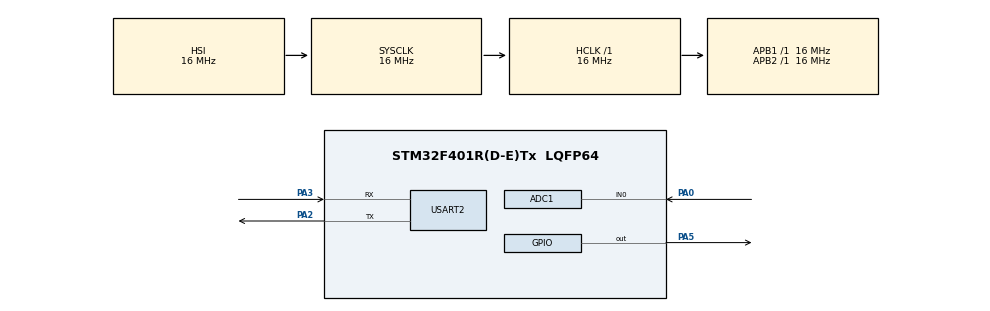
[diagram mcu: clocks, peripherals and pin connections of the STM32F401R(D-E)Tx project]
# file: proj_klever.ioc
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ADC1.NbrOfConversionFlag=1
ADC1.master=1
FREERTOS.Queues01=MainQueue,32,uint8_t,0,Dynamic,NULL,NULL
FREERTOS.Tasks01=Gerenciador,8,128,GerenciadorTask,Default,NULL,Dynamic,NULL,NULL;LerAnalogica,24,128,LerAnalogicaTask,Default,NULL,Dynamic,NULL,NULL;ComandarLed,24,128,ComandarLedTask,Default,NULL,Dynamic,NULL,NULL
Mcu.Family=STM32F4
Mcu.Name=STM32F401R(D-E)Tx
Mcu.Package=LQFP64
NVIC.PriorityGroup=NVIC_PRIORITYGROUP_4
NVIC.TIM1_UP_TIM10_IRQn=true\:0\:0\:false\:false\:true\:false\:false\:true
NVIC.TimeBase=TIM1_UP_TIM10_IRQn
NVIC.TimeBaseIP=TIM10
NVIC.USART2_IRQn=true\:5\:0\:false\:false\:true\:true\:true\:true
PA0-WKUP.Signal=ADCx_IN0
PA13.Mode=Serial_Wire
PA13.Signal=SYS_JTMS-SWDIO
PA14.Mode=Serial_Wire
PA14.Signal=SYS_JTCK-SWCLK
PA2.Mode=Asynchronous
PA2.Signal=USART2_TX
PA3.Mode=Asynchronous
PA3.Signal=USART2_RX
PA5.Signal=GPIO_Output
PH0\ -\ OSC_IN.Mode=HSE-External-Clock-Source
PH0\ -\ OSC_IN.Signal=RCC_OSC_IN
PH1\ -\ OSC_OUT.Mode=HSE-External-Clock-Source
PH1\ -\ OSC_OUT.Signal=RCC_OSC_OUT
ProjectManager.HeapSize=0x200
ProjectManager.StackSize=0x400
ProjectManager.TargetToolchain=STM32CubeIDE
RCC.AHBFreq_Value=16000000
RCC.APB1Freq_Value=16000000
RCC.APB2Freq_Value=16000000
RCC.CortexFreq_Value=16000000
RCC.HSE_VALUE=25000000
RCC.HSI_VALUE=16000000
RCC.LSE_VALUE=32768
RCC.SYSCLKFreq_VALUE=16000000
RCC.VCOOutputFreq_Value=192000000
SH.ADCx_IN0.0=ADC1_IN0,IN0
USART2.VirtualMode=VM_ASYNC
VP_FREERTOS_VS_CMSIS_V2.Mode=CMSIS_V2
VP_SYS_VS_tim10.Mode=TIM10
board=NUCLEO-F401RE

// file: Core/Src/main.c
/* USER CODE BEGIN Header */
/**
 ******************************************************************************
 * @file           : main.c
 * @brief          : Main program body
 ******************************************************************************
 * @attention
 *
 * <h2><center>&copy; Copyright (c) 2021 STMicroelectronics.
 * All rights reserved.</center></h2>
 *
 * This software component is licensed by ST under BSD 3-Clause license,
 * the "License"; You may not use this file except in compliance with the
 * License. You may obtain a copy of the License at:
 *                        opensource.org/licenses/BSD-3-Clause
 *
 * Criado por: Gustavo Duarte Serafim
 * Última Edição: 23/03/2021
 ******************************************************************************
 */
/* USER CODE END Header */

#include "main.h"
#include "cmsis_os.h"

/* USER CODE BEGIN Includes */
#include "stdio.h"
#include "string.h"
/* USER CODE END Includes */

/* USER CODE BEGIN PD */

// Bytes Relativos às Tarefas
#define FLAG_GERENCIADOR 	0x02
#define FLAG_LIGA 			0x04
#define FLAG_DESLIGA 		0x08
#define FLAG_TOGGLE 		0x10
#define FLAG_ADC 			0x20
#define FLAG_LOOPBACK 		0x40
#define MSG_ACK				0x8f

// Indices Importanes do Frame de Dados
#define INDICE_INICIO_FRAME 	0
#define INDICE_CMD_FRAME 		1
#define INDICE_QTD_PARAMS		2
#define INDICE_INICIO_PARAMS	3

// Constantes do Projeto
#define QUEUE_SIZE 	32
#define PERIODO_ADC 50

/* USER CODE END PD */

ADC_HandleTypeDef hadc1;

UART_HandleTypeDef huart2;

/* Definitions for Gerenciador */
osThreadId_t GerenciadorHandle;
const osThreadAttr_t Gerenciador_attributes = { .name = "Gerenciador",
		.priority = (osPriority_t) osPriorityLow, .stack_size = 128 * 4 };
/* Definitions for LerAnalogica */
osThreadId_t LerAnalogicaHandle;
const osThreadAttr_t LerAnalogica_attributes = { .name = "LerAnalogica",
		.priority = (osPriority_t) osPriorityNormal, .stack_size = 128 * 4 };
/* Definitions for ComandarLed */
osThreadId_t ComandarLedHandle;
const osThreadAttr_t ComandarLed_attributes = { .name = "ComandarLed",
		.priority = (osPriority_t) osPriorityNormal, .stack_size = 128 * 4 };
/* Definitions for MainQueue */
osMessageQueueId_t MainQueueHandle;
const osMessageQueueAttr_t MainQueue_attributes = { .name = "MainQueue" };
/* USER CODE BEGIN PV */

uint8_t rx_ans = 0;
uint8_t rx_buffer[QUEUE_SIZE] = { 0 };
uint8_t tx_buffer[QUEUE_SIZE] = { 0 };
uint16_t valor_analogico = 0;

osEventFlagsId_t flags_comando;
/* USER CODE END PV */

void SystemClock_Config(void);
static void MX_GPIO_Init(void);
static void MX_ADC1_Init(void);
static void MX_USART2_UART_Init(void);
void GerenciadorTask(void *argument);
void LerAnalogicaTask(void *argument);
void ComandarLedTask(void *argument);

int main(void) {

	/* MCU Configuration--------------------------------------------------------*/

	/* Reset of all peripherals, Initializes the Flash interface and the Systick. */
	HAL_Init();

	/* Configure the system clock */
	SystemClock_Config();

	/* Initialize all configured peripherals */
	MX_GPIO_Init();
	MX_ADC1_Init();
	MX_USART2_UART_Init();
	/* USER CODE BEGIN 2 */

	HAL_UART_Receive_IT(&huart2, &rx_ans, 1);
	HAL_ADC_Start_IT(&hadc1);
	/* USER CODE END 2 */

	/* Init scheduler */
	osKernelInitialize();

	/* Create the queue(s) */
	/* creation of MainQueue */
	MainQueueHandle = osMessageQueueNew(32, sizeof(uint8_t),
			&MainQueue_attributes);

	/* Create the thread(s) */
	/* creation of Gerenciador */
	GerenciadorHandle = osThreadNew(GerenciadorTask, NULL,
			&Gerenciador_attributes);

	/* creation of LerAnalogica */
	LerAnalogicaHandle = osThreadNew(LerAnalogicaTask, NULL,
			&LerAnalogica_attributes);

	/* creation of ComandarLed */
	ComandarLedHandle = osThreadNew(ComandarLedTask, NULL,
			&ComandarLed_attributes);

	/* USER CODE BEGIN RTOS_THREADS */

	// Obtém um ID para o FlagsComando
	flags_comando = osEventFlagsNew(NULL);

	// Inicializa as flags do comando zerando-as
	osEventFlagsClear(flags_comando,
			FLAG_GERENCIADOR | FLAG_LIGA | FLAG_DESLIGA | FLAG_TOGGLE | FLAG_ADC
					| FLAG_LOOPBACK);

	/* add threads, ... */
	/* USER CODE END RTOS_THREADS */

	/* Start scheduler */
	osKernelStart();

	/* We should never get here as control is now taken by the scheduler */
	/* Infinite loop */
	while (1) {

	}
}

void SystemClock_Config(void) {
	RCC_OscInitTypeDef RCC_OscInitStruct = { 0 };
	RCC_ClkInitTypeDef RCC_ClkInitStruct = { 0 };

	/** Configure the main internal regulator output voltage
	 */
	__HAL_RCC_PWR_CLK_ENABLE();
	__HAL_PWR_VOLTAGESCALING_CONFIG(PWR_REGULATOR_VOLTAGE_SCALE2);
	/** Initializes the CPU, AHB and APB busses clocks
	 */
	RCC_OscInitStruct.OscillatorType = RCC_OSCILLATORTYPE_HSI;
	RCC_OscInitStruct.HSIState = RCC_HSI_ON;
	RCC_OscInitStruct.HSICalibrationValue = RCC_HSICALIBRATION_DEFAULT;
	RCC_OscInitStruct.PLL.PLLState = RCC_PLL_NONE;
	if (HAL_RCC_OscConfig(&RCC_OscInitStruct) != HAL_OK) {
		Error_Handler();
	}
	/** Initializes the CPU, AHB and APB busses clocks
	 */
	RCC_ClkInitStruct.ClockType = RCC_CLOCKTYPE_HCLK | RCC_CLOCKTYPE_SYSCLK
			| RCC_CLOCKTYPE_PCLK1 | RCC_CLOCKTYPE_PCLK2;
	RCC_ClkInitStruct.SYSCLKSource = RCC_SYSCLKSOURCE_HSI;
	RCC_ClkInitStruct.AHBCLKDivider = RCC_SYSCLK_DIV1;
	RCC_ClkInitStruct.APB1CLKDivider = RCC_HCLK_DIV1;
	RCC_ClkInitStruct.APB2CLKDivider = RCC_HCLK_DIV1;

	if (HAL_RCC_ClockConfig(&RCC_ClkInitStruct, FLASH_LATENCY_0) != HAL_OK) {
		Error_Handler();
	}
}

static void MX_ADC1_Init(void) {

	ADC_ChannelConfTypeDef sConfig = { 0 };

	/** Configure the global features of the ADC (Clock, Resolution, Data Alignment and number of conversion)
	 */
	hadc1.Instance = ADC1;
	hadc1.Init.ClockPrescaler = ADC_CLOCK_SYNC_PCLK_DIV2;
	hadc1.Init.Resolution = ADC_RESOLUTION_12B;
	hadc1.Init.ScanConvMode = DISABLE;
	hadc1.Init.ContinuousConvMode = DISABLE;
	hadc1.Init.DiscontinuousConvMode = DISABLE;
	hadc1.Init.ExternalTrigConvEdge = ADC_EXTERNALTRIGCONVEDGE_NONE;
	hadc1.Init.ExternalTrigConv = ADC_SOFTWARE_START;
	hadc1.Init.DataAlign = ADC_DATAALIGN_RIGHT;
	hadc1.Init.NbrOfConversion = 1;
	hadc1.Init.DMAContinuousRequests = DISABLE;
	hadc1.Init.EOCSelection = ADC_EOC_SINGLE_CONV;
	if (HAL_ADC_Init(&hadc1) != HAL_OK) {
		Error_Handler();
	}
	/** Configure for the selected ADC regular channel its corresponding rank in the sequencer and its sample time.
	 */
	sConfig.Channel = ADC_CHANNEL_0;
	sConfig.Rank = 1;
	sConfig.SamplingTime = ADC_SAMPLETIME_3CYCLES;
	if (HAL_ADC_ConfigChannel(&hadc1, &sConfig) != HAL_OK) {
		Error_Handler();
	}

}

static void MX_USART2_UART_Init(void) {

	huart2.Instance = USART2;
	huart2.Init.BaudRate = 115200;
	huart2.Init.WordLength = UART_WORDLENGTH_8B;
	huart2.Init.StopBits = UART_STOPBITS_1;
	huart2.Init.Parity = UART_PARITY_NONE;
	huart2.Init.Mode = UART_MODE_TX_RX;
	huart2.Init.HwFlowCtl = UART_HWCONTROL_NONE;
	huart2.Init.OverSampling = UART_OVERSAMPLING_16;
	if (HAL_UART_Init(&huart2) != HAL_OK) {
		Error_Handler();
	}

}

static void MX_GPIO_Init(void) {
	GPIO_InitTypeDef GPIO_InitStruct = { 0 };

	/* GPIO Ports Clock Enable */
	__HAL_RCC_GPIOH_CLK_ENABLE();
	__HAL_RCC_GPIOA_CLK_ENABLE();

	/*Configure GPIO pin Output Level */
	HAL_GPIO_WritePin(GPIOA, GPIO_PIN_5, GPIO_PIN_RESET);

	/*Configure GPIO pin : PA5 */
	GPIO_InitStruct.Pin = GPIO_PIN_5;
	GPIO_InitStruct.Mode = GPIO_MODE_OUTPUT_PP;
	GPIO_InitStruct.Pull = GPIO_NOPULL;
	GPIO_InitStruct.Speed = GPIO_SPEED_FREQ_LOW;
	HAL_GPIO_Init(GPIOA, &GPIO_InitStruct);

}

/* USER CODE BEGIN 4 */
void HAL_UART_RxCpltCallback(UART_HandleTypeDef *huart) {
	static uint8_t rx_index = 0;
	static uint8_t params = 0;
	static uint16_t chksum = 0;

	// Flag necessária para saber se abre ou não a comunicação ao final do recebimento
	uint8_t sucesso = 0;

	if (huart->Instance == USART2) {
		// Implementação do protocolo

		if (rx_ans == 0x01 && rx_index == INDICE_INICIO_FRAME) { // Inicio do frame de dados
			rx_buffer[rx_index] = rx_ans;
			rx_index++;
			chksum += rx_ans;
		} else if (rx_index == INDICE_CMD_FRAME) { // Segundo byte de dados
			if (rx_ans == FLAG_LIGA || rx_ans == FLAG_DESLIGA
					|| rx_ans == FLAG_TOGGLE || rx_ans == FLAG_ADC
					|| rx_ans == FLAG_LOOPBACK) {
				// Recebeu um comando válido
				rx_buffer[rx_index] = rx_ans;
				rx_index++;
				chksum += rx_ans;
			} else {
				// Não responde e reseta comunicação
				rx_index = 0;
				params = 0;
				chksum = 0;
			}
		} else if (rx_index == INDICE_QTD_PARAMS) { // Terceiro byte de dados
			// Momento em que o numero de parametros é fornecido
			params = rx_ans;
			rx_buffer[rx_index] = rx_ans;
			rx_index++;
			chksum += rx_ans;
		} else if (rx_index > (params + INDICE_QTD_PARAMS)) { // Momento em que recebe o checksum
			if ((rx_ans & 0xff) == (chksum & 0xff)) {
				// Mensagem válida recebida
				sucesso = SET;
				// Colocar o comando na fila
				osMessageQueuePut(MainQueueHandle, &rx_buffer[INDICE_CMD_FRAME],
						0xff, 0);

				// Se o comando for o loopback, coloca os parâmetros recebidos na fila
				if (rx_buffer[INDICE_CMD_FRAME] == FLAG_LOOPBACK) {
					for (int i = INDICE_QTD_PARAMS;
							i <= (params + INDICE_QTD_PARAMS); i++) {
						osMessageQueuePut(MainQueueHandle, &rx_buffer[i], 0xff,
								0);

						if (i > QUEUE_SIZE)
							break;
					}
				}

				// Enviar uma flag para a thread de gerenciamento
				osEventFlagsSet(flags_comando, FLAG_GERENCIADOR);

				// Resetar a comunicação
				rx_index = 0;
				params = 0;
				chksum = 0;

			} else {
				// Não responde e reseta comunicação
				rx_index = 0;
				params = 0;
				chksum = 0;
			}
		} else if (rx_index > 0 && rx_index < QUEUE_SIZE) {
			// Recebimento dos parâmetros extras
			rx_buffer[rx_index] = rx_ans;
			rx_index++;
			chksum += rx_ans;
		} else {
			// Se alguma das condições falhar, reseta o recebimento do frame
			rx_index = 0;
			params = 0;
			chksum = 0;
		}

		// Abrir o Rx novamente se o recebimento ainda não estiver finalizado
		// Se houver sucesso, interrompe o recebimento até atender o comando
		if (!sucesso)
			HAL_UART_Receive_IT(&huart2, &rx_ans, 1);

	}

}

void HAL_UART_TxCpltCallback(UART_HandleTypeDef *huart) {
	// Fazer as tarefas necessárias
}
/* USER CODE END 4 */

void GerenciadorTask(void *argument) {
	/* USER CODE BEGIN 5 */
	// Variáveis globais do gerenciador
	uint8_t cmd = 0;
	uint8_t params = 0;
	uint16_t chksum = 0;
	/* Infinite loop */
	for (;;) {
		osEventFlagsWait(flags_comando, FLAG_GERENCIADOR, osFlagsWaitAll,
		HAL_MAX_DELAY);

		// Inicia a construção do buffer de resposta
		tx_buffer[INDICE_INICIO_FRAME] = 0x01;

		osMessageQueueGet(MainQueueHandle, &cmd, (void*) 0xff, 0);

		switch (cmd) {
		case FLAG_LOOPBACK:
			// Envia um eco da mensagem
			tx_buffer[INDICE_CMD_FRAME] = FLAG_LOOPBACK;
			osMessageQueueGet(MainQueueHandle, &params, (void*) 0xff, 0);
			tx_buffer[INDICE_QTD_PARAMS] = params;

			for (int i = INDICE_INICIO_PARAMS;
					i <= params + INDICE_INICIO_PARAMS; i++) {
				osMessageQueueGet(MainQueueHandle, &tx_buffer[i], (void*) 0xff,
						0);
			}
			chksum = 0;
			for (int i = 0; i < params + INDICE_INICIO_PARAMS; i++) {
				chksum += tx_buffer[i];
			}
			tx_buffer[params + INDICE_INICIO_PARAMS] = (chksum & 0xff);

			HAL_UART_Transmit_IT(&huart2, tx_buffer,
					params + INDICE_INICIO_PARAMS + 1);
			break;
		case FLAG_LIGA:
		case FLAG_DESLIGA:
		case FLAG_TOGGLE:
			// Faz a leitura dos parâmetros para liberar a fila
			osMessageQueueGet(MainQueueHandle, &params, (void*) 0xff, 0);

			// Coloca de volta a flag na fila, para ser consumida na função específica
			osMessageQueuePut(MainQueueHandle, &cmd, 0xff, 0);
			tx_buffer[INDICE_CMD_FRAME] = MSG_ACK;

			// Termina de construir o buffer de sáida
			tx_buffer[INDICE_QTD_PARAMS] = 0x00; // comando de LED não vai parâmetros

			// Faz o checksum
			tx_buffer[INDICE_QTD_PARAMS + 1] = (tx_buffer[INDICE_INICIO_FRAME]
					+ tx_buffer[INDICE_CMD_FRAME]) & 0xff;

			// Envia o frame de dados pra serial
			HAL_UART_Transmit_IT(&huart2, tx_buffer, 4);

			// Ativa a thread pra ligar o LED
			osEventFlagsSet(flags_comando, cmd);
			break;

		case FLAG_ADC:
			// Faz a leitura dos parâmetros para liberar a fila
			osMessageQueueGet(MainQueueHandle, &params, (void*) 0xff, 0);
			tx_buffer[INDICE_CMD_FRAME] = FLAG_ADC;

			// Bytes de resposta = 2 bytes
			tx_buffer[INDICE_QTD_PARAMS] = 0x02;

			// MSB do valor analógico
			tx_buffer[INDICE_INICIO_PARAMS] = (valor_analogico >> 8) & 0x0f;

			// LSB do valor analógico
			tx_buffer[INDICE_INICIO_PARAMS + 1] = valor_analogico & 0xff;

			// Checksum
			chksum = 0;
			for (int i = 0; i < (INDICE_INICIO_PARAMS+2); i++) {
				chksum += tx_buffer[i];
			}
			tx_buffer[(INDICE_INICIO_PARAMS+2)] = (chksum & 0xff);

			HAL_UART_Transmit_IT(&huart2, tx_buffer, (INDICE_INICIO_PARAMS+3));
			break;

		default:
			break;
		}

		// Fim do switch case, o comando foi atendido...
		// Habilita novamente a entrada serial
		HAL_UART_Receive_IT(&huart2, &rx_ans, 0x1);
	}
	/* USER CODE END 5 */
}

void LerAnalogicaTask(void *argument) {
	/* USER CODE BEGIN LerAnalogicaTask */
	/* Infinite loop */
	for (;;) {
		// Armazena o valor contido no DR do ADC
		valor_analogico = HAL_ADC_GetValue(&hadc1);

		// Engatilha outra conversão
		HAL_ADC_Start_IT(&hadc1);
		osDelay(PERIODO_ADC);
	}
	/* USER CODE END LerAnalogicaTask */
}

void ComandarLedTask(void *argument) {
	/* USER CODE BEGIN ComandarLedTask */
	uint8_t cmd = 0;
	/* Infinite loop */
	for (;;) {
		osEventFlagsWait(flags_comando,
		FLAG_LIGA | FLAG_DESLIGA | FLAG_TOGGLE, osFlagsWaitAny,
		HAL_MAX_DELAY);

		// Leitura do comando
		osMessageQueueGet(MainQueueHandle, &cmd, (void*) 0xff, 0);

		switch (cmd) {
		case FLAG_LIGA:
			HAL_GPIO_WritePin(GPIOA, GPIO_PIN_5, SET);
			break;
		case FLAG_DESLIGA:
			HAL_GPIO_WritePin(GPIOA, GPIO_PIN_5, RESET);
			break;
		case FLAG_TOGGLE:
			HAL_GPIO_TogglePin(GPIOA, GPIO_PIN_5);
			break;
		}
	}
	/* USER CODE END ComandarLedTask */
}

void HAL_TIM_PeriodElapsedCallback(TIM_HandleTypeDef *htim) {
	if (htim->Instance == TIM10) {
		HAL_IncTick();
	}
}

void Error_Handler(void) {
}

/************************ (C) COPYRIGHT STMicroelectronics *****END OF FILE****/
